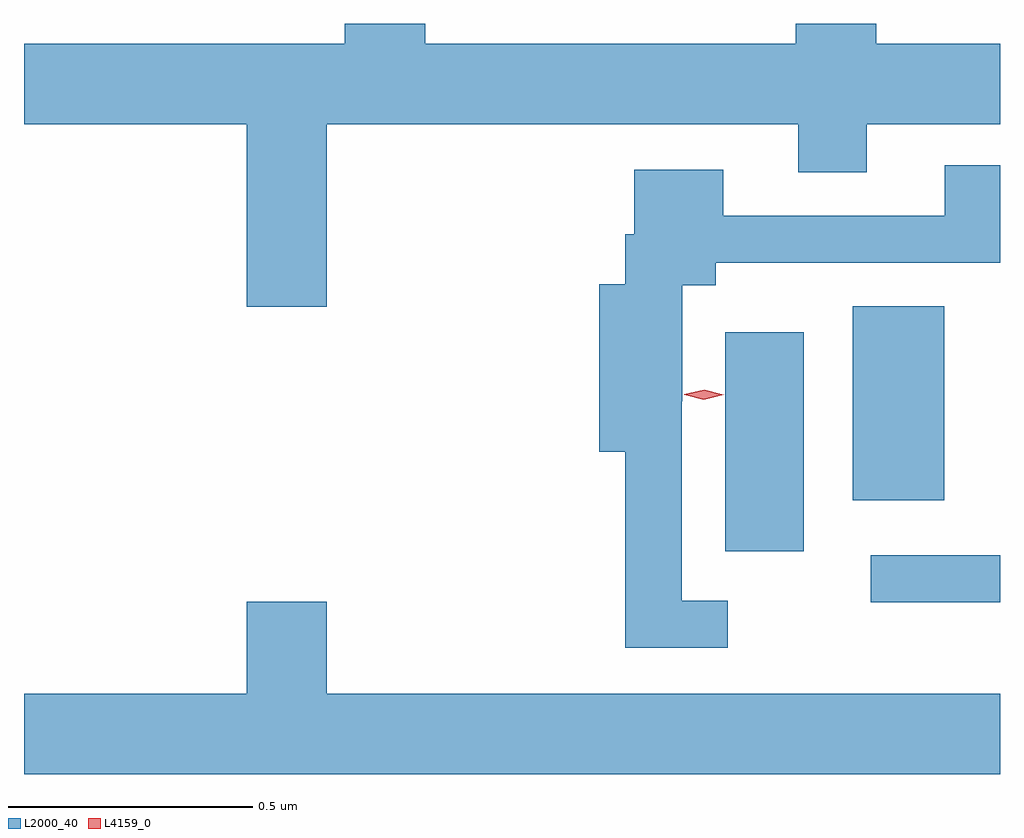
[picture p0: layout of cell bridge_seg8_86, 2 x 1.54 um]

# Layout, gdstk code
import gdstk
lib = gdstk.Library(unit=1e-6, precision=1e-09)
def R(c, l, rs):  # rectangles x0, y0, x1, y1
    for r in rs: c.add(gdstk.rectangle(r[:2], r[2:], *l))
def P(c, l, *ps):  # polygons
    for p in ps: c.add(gdstk.Polygon(p, *l))
L2000_40 = (2000, 40)
L4159_0 = (4159, 0)

bridge_seg8_86 = lib.new_cell('bridge_seg8_86')
R(bridge_seg8_86, L2000_40, [(681.771,1086.216,682.036,1086.312), (681.473,1086.321,681.634,1086.769), (681.734,1086.425,681.922,1086.823)])
P(bridge_seg8_86, L2000_40, [(680.656,1087.196),(681.623,1087.196),(681.623,1087.097),(681.763,1087.097),(681.763,1087.196),(682.036,1087.196),(682.036,1087.36),(681.782,1087.36),(681.782,1087.401),(681.617,1087.401),(681.617,1087.36),(680.858,1087.36),(680.858,1087.401),(680.693,1087.401),(680.693,1087.36),(680.036,1087.36),(680.036,1087.196),(680.492,1087.196),(680.492,1086.822),(680.656,1086.822)],
  [(681.478,1086.219),(681.384,1086.219),(681.384,1086.628),(681.385,1086.628),(681.385,1086.866),(681.454,1086.866),(681.454,1086.912),(682.036,1086.912),(682.036,1087.111),(681.923,1087.111),(681.923,1087.008),(681.469,1087.008),(681.469,1087.102),(681.287,1087.102),(681.287,1086.97),(681.268,1086.97),(681.268,1086.868),(681.215,1086.868),(681.215,1086.524),(681.268,1086.524),(681.268,1086.123),(681.478,1086.123)],
  [(682.036,1086.028),(680.656,1086.028),(680.656,1086.217),(680.492,1086.217),(680.492,1086.028),(680.036,1086.028),(680.036,1085.864),(682.036,1085.864)])
P(bridge_seg8_86, L4159_0, [(681.429,1086.631),(681.389,1086.641),(681.389,1086.642),(681.389,1086.642),(681.43,1086.651),(681.47,1086.641),(681.47,1086.641),(681.47,1086.641)])

lib.write_gds('bridge_seg8_86.gds')
